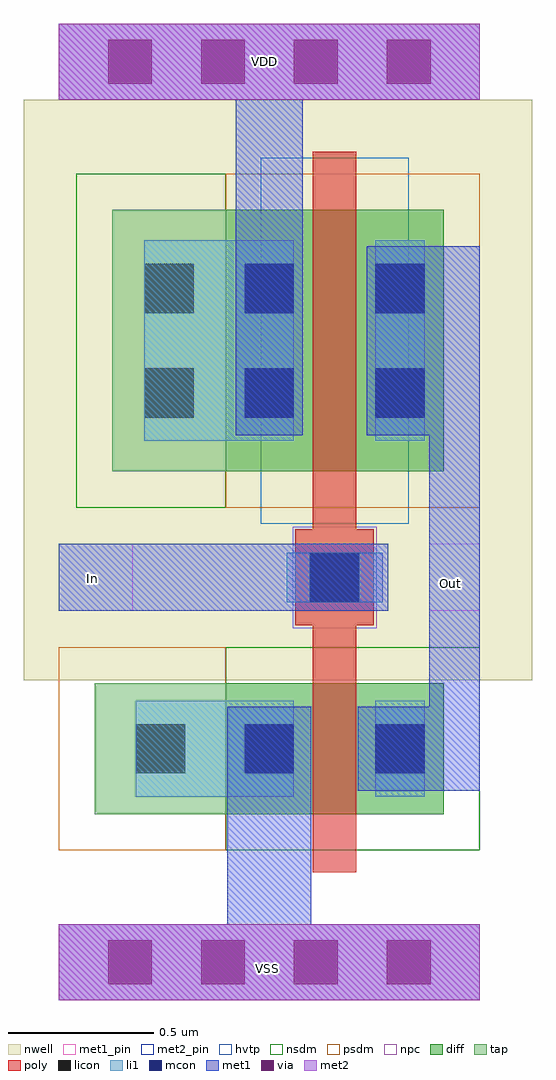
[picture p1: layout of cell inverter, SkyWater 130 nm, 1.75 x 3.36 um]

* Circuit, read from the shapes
.subckt inverter In Out VDD VSS
XM1 Out In VSS VSS sky130_fd_pr__nfet_01v8 w=0.45 l=0.15
XM2 Out In VDD VDD sky130_fd_pr__pfet_01v8_hvt w=0.9 l=0.15
.ends

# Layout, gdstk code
from math import pi, radians
import gdstk
lib = gdstk.Library(unit=1e-6, precision=1e-09)
def R(c, l, rs):  # rectangles x0, y0, x1, y1
    for r in rs: c.add(gdstk.rectangle(r[:2], r[2:], *l))
def A(c, l, x, y, w, h, nx, ny, dx, dy):  # array of equal rectangles
    R(c, l, [(x+i*dx, y+j*dy, x+i*dx+w, y+j*dy+h) for i in range(nx) for j in range(ny)])
nwell = (64, 20)
diff = (65, 20)
tap = (65, 44)
poly = (66, 20)
licon = (66, 44)
li1 = (67, 20)
mcon = (67, 44)
met1_pin = (68, 16)
met1 = (68, 20)
via = (68, 44)
met2_pin = (69, 16)
met2 = (69, 20)
hvtp = (78, 44)
nsdm = (93, 44)
psdm = (94, 20)
npc = (95, 20)

nfet_1 = lib.new_cell('nfet$1')
R(nfet_1, diff, [(0,0,0.75,0.45)])
R(nfet_1, tap, [(0.75,0,1.2,0.45)])
R(nfet_1, poly, [(0.3,-0.2,0.45,0.65), (0.24,0.65,0.51,0.98)])
R(nfet_1, licon, [(0.065,0.14,0.235,0.31), (0.515,0.14,0.685,0.31), (0.89,0.14,1.06,0.31), (0.29,0.73,0.46,0.9)])
R(nfet_1, li1, [(0.065,0.06,0.235,0.39), (0.515,0.06,0.685,0.39), (0.89,0.06,1.06,0.39), (0.21,0.73,0.54,0.9)])
R(nfet_1, mcon, [(0.065,0.14,0.235,0.31), (0.515,0.14,0.685,0.31), (0.29,0.73,0.46,0.9)])
R(nfet_1, met1, [(0.005,0.08,0.295,0.37), (0.455,0.08,0.745,0.37), (0.19,0.7,0.56,0.93)])
R(nfet_1, nsdm, [(-0.125,-0.125,0.75,0.575)])
R(nfet_1, psdm, [(0.75,-0.125,1.325,0.575)])
R(nfet_1, npc, [(0.23,0.64,0.52,0.99)])

pfet_1 = lib.new_cell('pfet$1')
R(pfet_1, nwell, [(-0.305,-0.72,1.445,1.28)])
R(pfet_1, diff, [(0,0,0.75,0.9)])
R(pfet_1, tap, [(0.75,0,1.14,0.9)])
R(pfet_1, poly, [(0.24,-0.53,0.51,-0.2), (0.3,-0.2,0.45,1.1)])
R(pfet_1, licon, [(0.29,-0.45,0.46,-0.28), (0.065,0.185,0.235,0.355), (0.515,0.185,0.685,0.355), (0.86,0.185,1.03,0.355), (0.065,0.545,0.235,0.715), (0.515,0.545,0.685,0.715), (0.86,0.545,1.03,0.715)])
R(pfet_1, li1, [(0.21,-0.45,0.54,-0.28), (0.065,0.105,0.235,0.795), (0.515,0.105,0.685,0.795), (0.86,0.105,1.03,0.795)])
R(pfet_1, mcon, [(0.29,-0.45,0.46,-0.28), (0.065,0.185,0.235,0.355), (0.515,0.185,0.685,0.355), (0.065,0.545,0.235,0.715), (0.515,0.545,0.685,0.715)])
R(pfet_1, met1, [(0.19,-0.48,0.56,-0.25), (0.035,0.125,0.265,0.775), (0.485,0.125,0.715,0.775)])
R(pfet_1, hvtp, [(0.12,-0.18,0.63,1.08)])
R(pfet_1, nsdm, [(0.75,-0.125,1.265,1.025)])
R(pfet_1, psdm, [(-0.125,-0.125,0.75,1.025)])
R(pfet_1, npc, [(0.23,-0.54,0.52,-0.19)])

vias_gen = lib.new_cell('vias_gen')
R(vias_gen, met1, [(0,0,1.45,0.26)])
A(vias_gen, via, 0.17, 0.055, 0.15, 0.15, 4, 1, 0.32, 0)
R(vias_gen, met2, [(0,0,1.45,0.26)])

inverter = lib.new_cell('inverter')
R(inverter, li1, [(-0.04,0.12,0.505,0.45), (-0.01,1.345,0.505,2.035)])
R(inverter, met1_pin, [(-0.305,0.76,-0.05,0.99), (0.97,0.76,1.145,0.99)])
R(inverter, met1, [(-0.305,-0.55,0.85,-0.32), (0.85,-0.55,1.145,-0.32), (0.275,-0.32,0.565,0.43), (0.97,0.14,1.145,0.99), (-0.305,0.76,0.83,0.99), (0.97,0.99,1.145,2.015), (0.305,1.365,0.535,2.52), (-0.305,2.52,0.85,2.75), (0.85,2.52,1.145,2.75)])
R(inverter, met2_pin, [(-0.305,-0.58,1.145,-0.32), (-0.305,2.52,1.145,2.78)])
inverter.add(gdstk.Reference(nfet_1, (1.02,0.06), rotation=pi, x_reflection=True))
inverter.add(gdstk.Reference(pfet_1, (1.02,1.24), rotation=pi, x_reflection=True))
inverter.add(gdstk.Reference(vias_gen, (-0.305,-0.58)))
inverter.add(gdstk.Reference(vias_gen, (-0.305,2.52)))
inverter.add(gdstk.Label('VSS', (0.415,-0.47), layer=69, texttype=5))
inverter.add(gdstk.Label('VDD', (0.405,2.65), layer=69, texttype=5))
inverter.add(gdstk.Label('Out', (1.045,0.855), layer=68, texttype=5))
inverter.add(gdstk.Label('In', (-0.19,0.87), layer=68, texttype=5))

lib.write_gds('inverter.gds')
